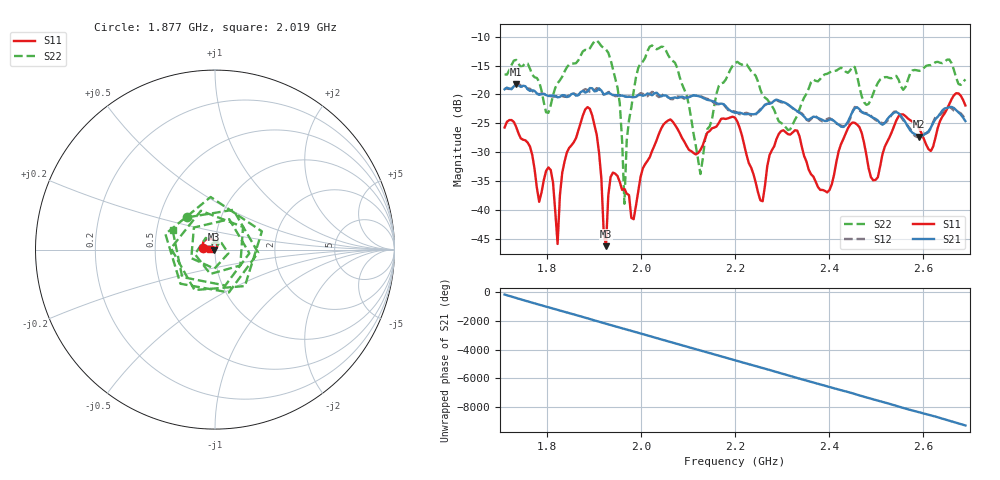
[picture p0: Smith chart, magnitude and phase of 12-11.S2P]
!Agilent Technologies,E5061B,MY49305579,A.02.22
!Date: Thu Aug 24 16:24:03 2017
!Data & Calibration Information:
!Freq	S11:SOLT2(ON)	S21:SOLT2(ON)	S12:SOLT2(ON)	S22:SOLT2(ON)
# Hz S dB R 50
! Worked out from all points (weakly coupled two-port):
!   201 points, 1.71 GHz to 2.69 GHz, reference 50 ohm
!   highest |S21| = -18.19 dB at 1.734 GHz (marker M1); lowest = -27.3 dB at 2.592 GHz (marker M2)
!   lowest |S11| = -46.3 dB at 1.926 GHz (marker M3), VSWR 1.01, Z = 49.5 - j0.00624 ohm
!   |S11| at or under -10 dB: start of sweep to end of sweep
!   |S22| runs from -39.0 to -10.6 dB; largest |S21 - S12| = 0.011
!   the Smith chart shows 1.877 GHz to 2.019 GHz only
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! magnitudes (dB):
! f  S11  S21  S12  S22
! 1.71 GHz  -25.7  -19.1  -18.9  -16.5
! 1.734 GHz  -25.6  -18.2  -18.2  -14.0
! 1.784 GHz  -38.6  -20.1  -19.9  -17.8
! 1.808 GHz  -33.1  -20.2  -20.3  -21.9
! 1.823 GHz  -45.9  -20.5  -20.2  -18.0
! 1.833 GHz  -33.6  -20.1  -20.3  -16.9
! 1.877 GHz  -23.6  -19.4  -19.3  -12.5
! 1.906 GHz  -27.0  -19.4  -18.9  -10.6
! 1.926 GHz  -46.3  -19.9  -19.9  -12.2
! 1.935 GHz  -34.3  -19.9  -19.6  -13.9
! 1.955 GHz  -35.2  -20.2  -20.1  -21.6
! 1.965 GHz  -36.4  -20.3  -20.3  -39.0
! 1.989 GHz  -39.3  -20.4  -20.4  -17.1
! 2.038 GHz  -26.8  -20.1  -20.5  -12.0
! 2.127 GHz  -29.6  -20.4  -20.3  -33.8
! 2.2 GHz  -24.0  -23.2  -23.0  -14.6
! 2.254 GHz  -38.3  -22.7  -22.6  -19.1
! 2.298 GHz  -26.4  -21.2  -21.3  -24.9
! 2.367 GHz  -34.2  -23.8  -23.8  -17.4
! 2.528 GHz  -27.5  -23.9  -24.1  -17.1
! 2.592 GHz  -25.9  -27.3  -27.2  -15.9
! 2.69 GHz  -21.9  -24.6  -24.4  -17.4
